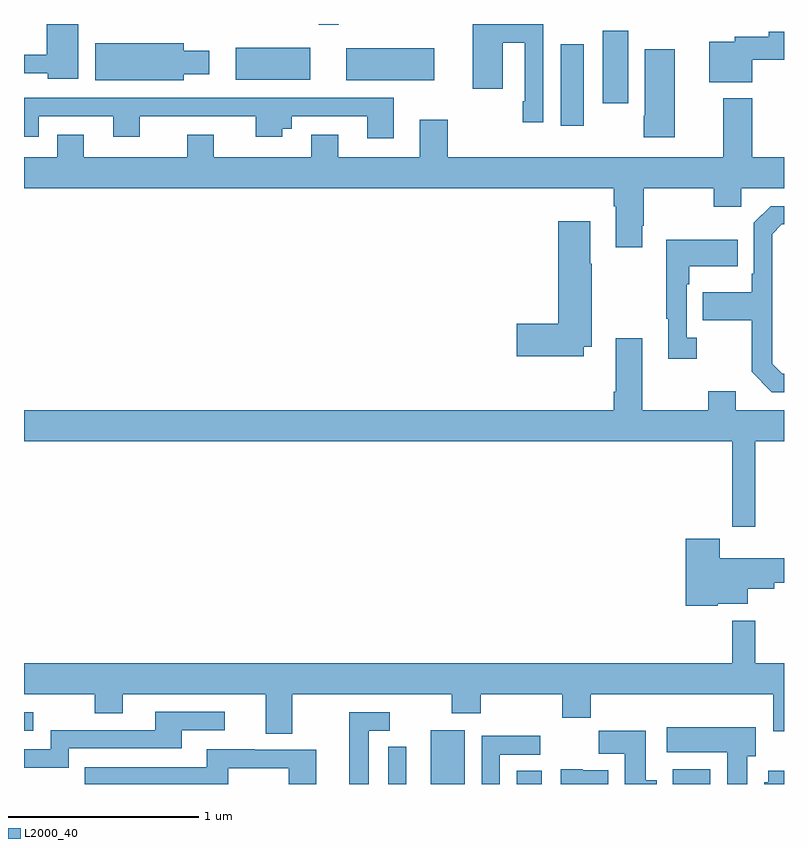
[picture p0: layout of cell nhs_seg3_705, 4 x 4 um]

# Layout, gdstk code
import gdstk
lib = gdstk.Library(unit=1e-6, precision=1e-09)
def R(c, l, rs):  # rectangles x0, y0, x1, y1
    for r in rs: c.add(gdstk.rectangle(r[:2], r[2:], *l))
def P(c, l, *ps):  # polygons
    for p in ps: c.add(gdstk.Polygon(p, *l))
L2000_40 = (2000, 40)

nhs_seg3_705 = lib.new_cell('nhs_seg3_705')
R(nhs_seg3_705, L2000_40, [(147.14,744.4,147.319,744.682), (147.593,744.4,147.724,744.47), (148.415,744.4,148.612,744.478), (145,744.681,145.048,744.777), (147.824,747.864,147.946,748.294), (148.046,747.984,148.18,748.364), (146.696,748.103,147.16,748.273), (146.114,748.106,146.506,748.276), (146.552,748.395,146.656,748.4)])
P(nhs_seg3_705, L2000_40, [(145.285,748.4),(145.121,748.4),(145.121,748.238),(145,748.238),(145,748.14),(145.125,748.14),(145.125,748.112),(145.285,748.112)],
  [(147.732,748.4),(147.362,748.4),(147.362,748.059),(147.52,748.059),(147.52,748.301),(147.636,748.301),(147.636,747.994),(147.624,747.994),(147.624,747.882),(147.732,747.882)],
  [(148.834,748.211),(149,748.211),(149,748.358),(148.92,748.358),(148.92,748.333),(148.74,748.333),(148.74,748.306),(148.607,748.306),(148.607,748.094),(148.834,748.094)],
  [(145.84,748.136),(145.975,748.136),(145.975,748.258),(145.84,748.258),(145.84,748.3),(145.376,748.3),(145.376,748.103),(145.84,748.103)],
  [(148.426,748.267),(148.268,748.267),(148.268,747.916),(148.261,747.916),(148.261,747.804),(148.426,747.804)],
  [(146.947,748.011),(145,748.011),(145,747.806),(145.078,747.806),(145.078,747.915),(145.469,747.915),(145.469,747.806),(145.609,747.806),(145.609,747.915),(146.219,747.915),(146.219,747.806),(146.359,747.806),(146.359,747.848),(146.41,747.848),(146.41,747.915),(146.807,747.915),(146.807,747.798),(146.947,747.798)],
  [(148.255,747.337),(148.263,747.337),(148.263,747.536),(148.63,747.536),(148.63,747.437),(148.776,747.437),(148.776,747.536),(149,747.536),(149,747.7),(148.832,747.7),(148.832,748.009),(148.679,748.009),(148.679,747.7),(147.231,747.7),(147.231,747.895),(147.083,747.895),(147.083,747.7),(146.653,747.7),(146.653,747.817),(146.513,747.817),(146.513,747.7),(145.999,747.7),(145.999,747.817),(145.859,747.817),(145.859,747.7),(145.315,747.7),(145.315,747.817),(145.175,747.817),(145.175,747.7),(145,747.7),(145,747.536),(148.103,747.536),(148.103,747.44),(148.115,747.44),(148.115,747.225),(148.255,747.225)],
  [(149,746.559),(148.992,746.559),(148.938,746.613),(148.938,747.294),(148.989,747.345),(149,747.345),(149,747.441),(148.929,747.441),(148.842,747.354),(148.842,747.085),(148.83,747.085),(148.83,746.989),(148.573,746.989),(148.573,746.842),(148.83,746.842),(148.83,746.569),(148.935,746.463),(149,746.463)],
  [(147.946,746.702),(147.987,746.702),(147.987,747.137),(147.979,747.137),(147.979,747.361),(147.812,747.361),(147.812,746.822),(147.594,746.822),(147.594,746.651),(147.946,746.651)],
  [(148.54,746.75),(148.488,746.75),(148.488,747.029),(148.501,747.029),(148.501,747.125),(148.757,747.125),(148.757,747.265),(148.38,747.265),(148.38,746.849),(148.391,746.849),(148.391,746.637),(148.54,746.637)],
  [(148.849,746.204),(149,746.204),(149,746.368),(148.747,746.368),(148.747,746.467),(148.6,746.467),(148.6,746.368),(148.255,746.368),(148.255,746.746),(148.115,746.746),(148.115,746.464),(148.103,746.464),(148.103,746.368),(145,746.368),(145,746.204),(148.728,746.204),(148.728,745.755),(148.849,745.755)],
  [(148.65,745.349),(148.81,745.349),(148.81,745.427),(148.948,745.427),(148.948,745.459),(149,745.459),(149,745.588),(148.662,745.588),(148.662,745.69),(148.484,745.69),(148.484,745.337),(148.65,745.337)],
  [(145,744.872),(145.372,744.872),(145.372,744.773),(145.519,744.773),(145.519,744.872),(146.273,744.872),(146.273,744.664),(146.413,744.664),(146.413,744.872),(147.25,744.872),(147.25,744.773),(147.405,744.773),(147.405,744.872),(147.832,744.872),(147.832,744.748),(147.983,744.748),(147.983,744.872),(148.943,744.872),(148.943,744.678),(149,744.678),(149,745.036),(148.849,745.036),(148.849,745.258),(148.728,745.258),(148.728,745.036),(145,745.036)],
  [(145.236,744.588),(145.831,744.588),(145.831,744.684),(146.056,744.684),(146.056,744.78),(145.691,744.78),(145.691,744.684),(145.14,744.684),(145.14,744.582),(145,744.582),(145,744.485),(145.236,744.485)],
  [(146.815,744.681),(146.926,744.681),(146.926,744.777),(146.711,744.777),(146.711,744.4),(146.815,744.4)],
  [(148.807,744.546),(148.852,744.546),(148.852,744.7),(148.383,744.7),(148.383,744.566),(148.7,744.566),(148.7,744.4),(148.807,744.4)],
  [(148.33,744.42),(148.273,744.42),(148.273,744.679),(148.024,744.679),(148.024,744.56),(148.163,744.56),(148.163,744.4),(148.33,744.4)],
  [(147.504,744.555),(147.718,744.555),(147.718,744.654),(147.408,744.654),(147.408,744.4),(147.504,744.4)],
  [(147.011,744.442),(147.012,744.442),(147.012,744.596),(146.916,744.596),(146.916,744.4),(147.011,744.4)],
  [(146.076,744.483),(146.394,744.483),(146.394,744.4),(146.539,744.4),(146.539,744.579),(146.215,744.579),(146.215,744.583),(145.961,744.583),(145.961,744.489),(145.321,744.489),(145.321,744.4),(146.076,744.4)],
  [(148.075,744.472),(147.942,744.472),(147.942,744.478),(147.824,744.478),(147.824,744.4),(148.075,744.4)],
  [(149,744.469),(148.916,744.469),(148.916,744.408),(148.895,744.408),(148.895,744.4),(149,744.4)])

lib.write_gds('nhs_seg3_705.gds')
